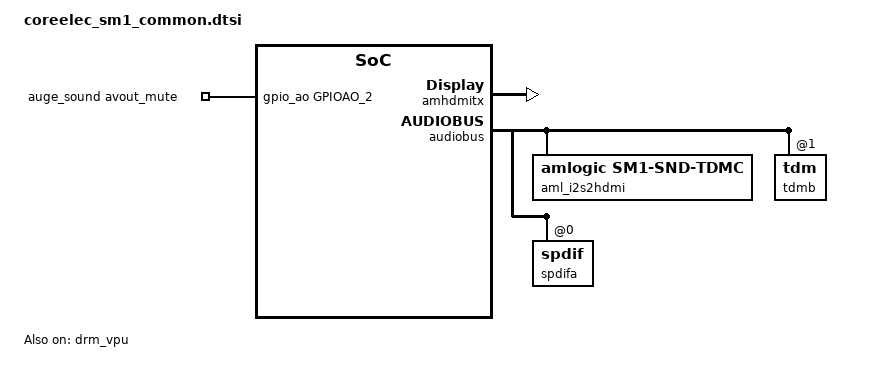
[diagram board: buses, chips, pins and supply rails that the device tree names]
#include "coreelec_common.dtsi"

/ {
	compatible = "amlogic, g12a";

	/delete-node/ ir@0xff808040;
	/delete-node/ optee;
	/delete-node/ power-domains@0xff62fcc0;

	cpus:cpus {
		/delete-node/ cpu@0;
		/delete-node/ cpu@1;
		/delete-node/ cpu@2;
		/delete-node/ cpu@3;
		CPU0:cpu@0 {
			device_type = "cpu";
			compatible = "arm,cortex-a53","arm,armv8";
			reg = <0x0 0x0>;
			enable-method = "psci";
			//cpu-idle-states = <&CPU_SLEEP_0 &CLUSTER_SLEEP_0>;
			clocks = <&clkc CLKID_CPU_CLK>,
				<&clkc CLKID_CPU_CLK_DYN>,
				<&clkc CLKID_SYS_PLL>;
			clock-names = "core_clk",
				"low_freq_clk_parent",
				"high_freq_clk_parent";
			operating-points-v2 = <&cpu_opp_table0>;
			cpu-supply = <&vddcpu0>;
			voltage-tolerance = <0>;
			clock-latency = <50000>;
			capacity-dmips-mhz = <632>;
			dynamic-power-coefficient = <110>;
			#cooling-cells = <2>;
			hmp_boost_enable;
		};

		CPU1:cpu@1 {
			device_type = "cpu";
			compatible = "arm,cortex-a53","arm,armv8";
			reg = <0x0 0x1>;
			enable-method = "psci";
			//cpu-idle-states = <&CPU_SLEEP_0 &CLUSTER_SLEEP_0>;
			//clocks = <&clkc CLKID_CPU_CLK>,
			//	<&clkc CLKID_CPU_CLK_DYN>,
			//	<&clkc CLKID_SYS_PLL>;
			//clock-names = "core_clk",
			//	"low_freq_clk_parent",
			//	"high_freq_clk_parent";
			operating-points-v2 = <&cpu_opp_table0>;
			cpu-supply = <&vddcpu0>;
			voltage-tolerance = <0>;
			clock-latency = <50000>;
			capacity-dmips-mhz = <632>;
			dynamic-power-coefficient = <110>;
		};

		CPU2:cpu@2 {
			device_type = "cpu";
			compatible = "arm,cortex-a53","arm,armv8";
			reg = <0x0 0x2>;
			enable-method = "psci";
			//cpu-idle-states = <&CPU_SLEEP_0 &CLUSTER_SLEEP_0>;
			//clocks = <&clkc CLKID_CPU_CLK>,
			//	<&clkc CLKID_CPU_CLK_DYN>,
			//	<&clkc CLKID_SYS_PLL>;
			//clock-names = "core_clk",
			//	"low_freq_clk_parent",
			//	"high_freq_clk_parent";
			operating-points-v2 = <&cpu_opp_table0>;
			cpu-supply = <&vddcpu0>;
			voltage-tolerance = <0>;
			clock-latency = <50000>;
			capacity-dmips-mhz = <632>;
			dynamic-power-coefficient = <110>;
		};

		CPU3:cpu@3 {
			device_type = "cpu";
			compatible = "arm,cortex-a53","arm,armv8";
			reg = <0x0 0x3>;
			enable-method = "psci";
			//cpu-idle-states = <&CPU_SLEEP_0 &CLUSTER_SLEEP_0>;
			//clocks = <&clkc CLKID_CPU_CLK>,
			//	<&clkc CLKID_CPU_CLK_DYN>,
			//	<&clkc CLKID_SYS_PLL>;
			//clock-names = "core_clk",
			//	"low_freq_clk_parent",
			//	"high_freq_clk_parent";
			operating-points-v2 = <&cpu_opp_table0>;
			cpu-supply = <&vddcpu0>;
			voltage-tolerance = <0>;
			clock-latency = <50000>;
			capacity-dmips-mhz = <632>;
			dynamic-power-coefficient = <110>;
		};
	};

	amhdmitx: amhdmitx{
		status = "okay";
		vend_data: vend_data{ /* Should modified by Customer */
			product_desc = "SM1"; /* Max Chars: 16 */
		};
	};

	reserved-memory {
		ion_cma_reserved:linux,ion-dev {
			size = <0x00000000 0x09800000>;
		};

		ion_fb_reserved:linux,ion-fb {
			size = <0x00000000 0x11000000>;
		};

		dmaheap_fb_reserved:heap-fb {
			/* 4k STB androidT size 160M */
			size = <0x0 0xa000000>;
		};

		di_cma_reserved:linux,di_cma {
			status = "disabled";
		};

		codec_mm_cma:linux,codec_mm_cma {
			size = <0x0 0x1b000000>;
		};

		vdin1_cma_reserved:linux,vdin1_cma {
			status = "disabled";
		};
	};

	secmon {
		clear_range = <0x05100000 0x02a00000>;
	};

	gpioleds {
		/delete-node/ net_red;
		/delete-node/ net_green;
		/delete-node/ remote_led;
	};

	multi-di {
		compatible = "amlogic, dim-sm1";
		status = "okay";
		/* 0:use reserved; 1:use cma; 2:use cma as reserved */
		flag_cma = <4>;	//<1>;
		//memory-region = <&di_reserved>;
		memory-region = <&di_cma_reserved>;
		interrupts = <0 46 1
				0 40 1>;
		interrupt-names = "pre_irq", "aisr_irq";
		clocks = <&clkc CLKID_VPU_CLKB_TMP>,
			<&clkc CLKID_VPU_CLKB>;
		clock-names = "vpu_clkb",
			"vpu_mux";
		clock-range = <334 667>;
		/* buffer-size = <3621952>;(yuv422 8bit) */
		buffer-size = <4074560>;/*yuv422 fullpack*/
		/* reserve-iomap = "true"; */
		/* if enable nr10bit, set nr10bit-support to 1 */
		post-wr-support = <1>;
		nr10bit-support = <1>;
		nrds-enable = <1>;
		pps-enable = <1>;
	};

	meson-ir {
		reg = <0x0 0xff808040 0x00 0x44>, /*Multi-format IR controller*/
			<0x0 0xff808000 0x00 0x20>; /*Legacy IR controller*/
		interrupts = <GIC_SPI 196 IRQ_TYPE_EDGE_RISING>;
	};

	meson-remote {
		reg = <0x0 0xff808040 0x00 0x44>, /*Multi-format IR controller*/
			<0x0 0xff808000 0x00 0x20>; /*Legacy IR controller*/
		interrupts = <GIC_SPI 196 IRQ_TYPE_EDGE_RISING>;
	};

	/delete-node/ auge_sound;
	auge_sound {
		compatible = "amlogic, auge-sound-card";
		aml-audio-card,name = "AML-AUGESOUND";

		/*avout mute gpio*/
		avout_mute-gpios = <&gpio_ao GPIOAO_2 GPIO_ACTIVE_HIGH>;

		aml-audio-card,dai-link@0 {
			mclk-fs = <128>;
			continuous-clock;
			cpu {
				system-clock-frequency = <6144000>;
				sound-dai = <&spdifb>;
			};
			codec {
				sound-dai = <&spdifb>;
			};
		};

		aml-audio-card,dai-link@1 {
			format = "i2s";
			mclk-fs = <256>;
			bitclock-master = <&tdmb>;
			frame-master = <&tdmb>;
			continuous-clock;
			cpu {
				dai-tdm-slot-tx-mask = <1 1>;
				dai-tdm-slot-rx-mask = <1 1>;
				dai-tdm-slot-num = <2>;
				dai-tdm-slot-width = <32>;
				system-clock-frequency = <12288000>;
				sound-dai = <&tdmb>;
			};
			codec {
				sound-dai = <&tdmb>;
			};
		};

		aml-audio-card,dai-link@2 {
			mclk-fs = <128>;
			continuous-clock;
			cpu {
				system-clock-frequency = <6144000>;
				sound-dai = <&spdifa>;
			};
			codec {
				sound-dai = <&spdifa>;
			};
		};

		aml-audio-card,dai-link@3 {
			format = "i2s";
			mclk-fs = <256>;
			bitclock-master = <&aml_i2s2hdmi>;
			frame-master = <&aml_i2s2hdmi>;
			continuous-clock;
			cpu {
				sound-dai = <&aml_i2s2hdmi>;
				dai-tdm-slot-tx-mask = <1 1>;
				dai-tdm-slot-rx-mask = <1 1>;
				dai-tdm-slot-num = <2>;
				dai-tdm-slot-width = <32>;
				system-clock-frequency = <12288000>;
			};
			codec {
				sound-dai = <&dummy_codec>;
			};
		};
	};

	soc {
		periphs: periphs@ff634400 {
			status = "okay";
		};
	};

	galcore {
		/delete-property/ power-domains;
	};

	ge2d {
		/delete-property/ power-domains;
	};
};

&drm_vpu {
	status = "okay";
};

&audiobus {
	aml_i2s2hdmi: i2s2hdmi {
		compatible = "amlogic, sm1-snd-tdmc";
	};

	tdmb: tdm@1 {
		/delete-property/ start_clk_enable;
		/delete-property/ clk_tuning_enable;
	};

	spdifa: spdif@0 {
		pinctrl-0 = <&spdifout>;
		/delete-property/ clk_tuning_enable;
	};
};

&i2c0 {
	status = "disabled";
};

&i2c3 {
	status = "disabled";
};

&dwc2_a {
	controller-type = <3>;
	/delete-property/ power-domains;
};

&dwc3 {
	/delete-property/ power-domains;
};

&usb2_phy_v2 {
	/delete-property/ power-domains;
};

&usb3_phy_v2 {
	/delete-property/ power-domains;
};

&earc {
	status = "disabled";
};
